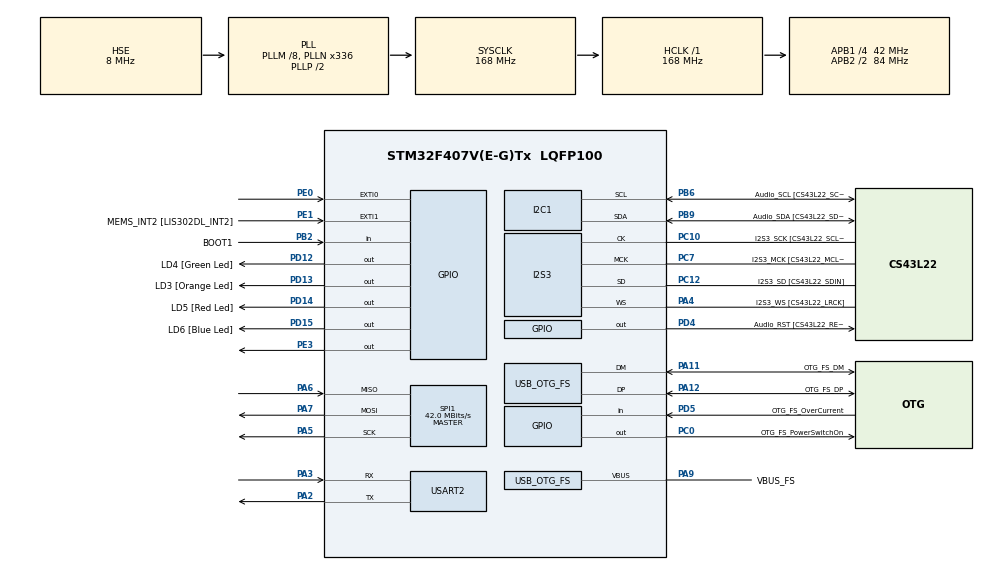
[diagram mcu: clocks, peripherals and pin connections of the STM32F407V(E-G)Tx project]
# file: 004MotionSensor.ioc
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I2S3.AudioFreq-Half_Duplex_Master=I2S_AUDIOFREQ_96K
I2S3.ErrorAudioFreq=-2.34 %
I2S3.ErrorAudioFreq-Half_Duplex_Master=0.8 %
I2S3.FullDuplexMode=I2S_FULLDUPLEXMODE_DISABLE
I2S3.Instance=SPI$Index
I2S3.RealAudioFreq=93.75 KHz
I2S3.RealAudioFreq-Half_Duplex_Master=96.774 KHz
I2S3.VirtualMode=I2S_MODE_MASTER
Mcu.Family=STM32F4
Mcu.Name=STM32F407V(E-G)Tx
Mcu.Package=LQFP100
NVIC.EXTI0_IRQn=true\:15\:0\:true\:false\:true\:true\:true
NVIC.OTG_FS_IRQn=true\:0\:0\:false\:false\:true\:true\:true
NVIC.PriorityGroup=NVIC_PRIORITYGROUP_4
NVIC.TIM6_DAC_IRQn=true\:0\:0\:false\:false\:true\:false\:true
NVIC.TimeBase=TIM6_DAC_IRQn
NVIC.TimeBaseIP=TIM6
PA10.GPIO_Label=OTG_FS_ID
PA10.GPIO_Mode=GPIO_MODE_AF_PP
PA10.GPIO_PuPd=GPIO_NOPULL
PA10.GPIO_Speed=GPIO_SPEED_FREQ_LOW
PA10.Signal=USB_OTG_FS_ID
PA11.GPIO_Label=OTG_FS_DM
PA11.GPIO_Mode=GPIO_MODE_AF_PP
PA11.GPIO_PuPd=GPIO_NOPULL
PA11.GPIO_Speed=GPIO_SPEED_FREQ_LOW
PA11.Mode=Host_Only
PA11.Signal=USB_OTG_FS_DM
PA12.GPIO_Label=OTG_FS_DP
PA12.GPIO_Mode=GPIO_MODE_AF_PP
PA12.GPIO_PuPd=GPIO_NOPULL
PA12.GPIO_Speed=GPIO_SPEED_FREQ_LOW
PA12.Mode=Host_Only
PA12.Signal=USB_OTG_FS_DP
PA13.GPIO_Label=SWDIO
PA13.Mode=Trace_Asynchronous_SW
PA13.Signal=SYS_JTMS-SWDIO
PA14.GPIO_Label=SWCLK
PA14.Mode=Trace_Asynchronous_SW
PA14.Signal=SYS_JTCK-SWCLK
PA2.Mode=Asynchronous
PA2.Signal=USART2_TX
PA3.Mode=Asynchronous
PA3.Signal=USART2_RX
PA4.GPIO_Label=I2S3_WS [CS43L22_LRCK]
PA4.GPIO_Mode=GPIO_MODE_AF_PP
PA4.GPIO_PuPd=GPIO_NOPULL
PA4.GPIO_Speed=GPIO_SPEED_FREQ_LOW
PA4.Mode=Half_Duplex_Master
PA4.Signal=I2S3_WS
PA5.Mode=Full_Duplex_Master
PA5.Signal=SPI1_SCK
PA6.Mode=Full_Duplex_Master
PA6.Signal=SPI1_MISO
PA7.Mode=Full_Duplex_Master
PA7.Signal=SPI1_MOSI
PA9.GPIO_Label=VBUS_FS
PA9.GPIO_Mode=GPIO_MODE_INPUT
PA9.GPIO_PuPd=GPIO_NOPULL
PA9.Mode=Activate_VBUS
PA9.Signal=USB_OTG_FS_VBUS
PB10.GPIO_Label=CLK_IN [MP45DT02_CLK]
PB10.GPIO_Mode=GPIO_MODE_AF_PP
PB10.GPIO_PuPd=GPIO_NOPULL
PB10.GPIO_Speed=GPIO_SPEED_FREQ_LOW
PB10.Signal=I2S2_CK
PB2.GPIO_Label=BOOT1
PB2.GPIO_Mode=GPIO_MODE_INPUT
PB2.GPIO_PuPd=GPIO_NOPULL
PB2.Signal=GPIO_Input
PB3.GPIO_Label=SWO
PB3.Mode=Trace_Asynchronous_SW
PB3.Signal=SYS_JTDO-SWO
PB6.GPIO_Label=Audio_SCL [CS43L22_SCL]
PB6.GPIO_Mode=GPIO_MODE_AF_OD
PB6.GPIO_Pu=GPIO_PULLUP
PB6.GPIO_PuPd=GPIO_NOPULL
PB6.GPIO_Speed=GPIO_SPEED_FREQ_LOW
PB6.Mode=I2C
PB6.Signal=I2C1_SCL
PB9.GPIO_Label=Audio_SDA [CS43L22_SDA]
PB9.GPIO_Mode=GPIO_MODE_AF_OD
PB9.GPIO_Pu=GPIO_PULLUP
PB9.GPIO_PuPd=GPIO_NOPULL
PB9.GPIO_Speed=GPIO_SPEED_FREQ_LOW
PB9.Mode=I2C
PB9.Signal=I2C1_SDA
PC0.GPIO_Label=OTG_FS_PowerSwitchOn
PC0.GPIO_PuPd=GPIO_NOPULL
PC0.GPIO_Speed=GPIO_SPEED_FREQ_LOW
PC0.PinState=GPIO_PIN_SET
PC0.Signal=GPIO_Output
PC10.GPIO_Label=I2S3_SCK [CS43L22_SCLK]
PC10.GPIO_Mode=GPIO_MODE_AF_PP
PC10.GPIO_PuPd=GPIO_NOPULL
PC10.GPIO_Speed=GPIO_SPEED_FREQ_LOW
PC10.Mode=Half_Duplex_Master
PC10.Signal=I2S3_CK
PC12.GPIO_Label=I2S3_SD [CS43L22_SDIN]
PC12.GPIO_Mode=GPIO_MODE_AF_PP
PC12.GPIO_PuPd=GPIO_NOPULL
PC12.GPIO_Speed=GPIO_SPEED_FREQ_LOW
PC12.Mode=Half_Duplex_Master
PC12.Signal=I2S3_SD
PC14-OSC32_IN.GPIO_Label=PC14-OSC32_IN
PC14-OSC32_IN.Mode=LSE-External-Oscillator
PC14-OSC32_IN.Signal=RCC_OSC32_IN
PC15-OSC32_OUT.GPIO_Label=PC15-OSC32_OUT
PC15-OSC32_OUT.Mode=LSE-External-Oscillator
PC15-OSC32_OUT.Signal=RCC_OSC32_OUT
PC3.GPIO_Label=PDM_OUT [MP45DT02_DOUT]
PC3.GPIO_Mode=GPIO_MODE_AF_PP
PC3.GPIO_PuPd=GPIO_NOPULL
PC3.GPIO_Speed=GPIO_SPEED_FREQ_LOW
PC3.Signal=I2S2_SD
PC7.GPIO_Label=I2S3_MCK [CS43L22_MCLK]
PC7.GPIO_Mode=GPIO_MODE_AF_PP
PC7.GPIO_PuPd=GPIO_NOPULL
PC7.GPIO_Speed=GPIO_SPEED_FREQ_LOW
PC7.Mode=Master_Clock_Activated
PC7.Signal=I2S3_MCK
PD12.GPIO_Label=LD4 [Green Led]
PD12.GPIO_PuPd=GPIO_NOPULL
PD12.GPIO_Speed=GPIO_SPEED_FREQ_LOW
PD12.Signal=GPIO_Output
PD13.GPIO_Label=LD3 [Orange Led]
PD13.GPIO_PuPd=GPIO_NOPULL
PD13.GPIO_Speed=GPIO_SPEED_FREQ_LOW
PD13.Signal=GPIO_Output
PD14.GPIO_Label=LD5 [Red Led]
PD14.GPIO_PuPd=GPIO_NOPULL
PD14.GPIO_Speed=GPIO_SPEED_FREQ_LOW
PD14.Signal=GPIO_Output
PD15.GPIO_Label=LD6 [Blue Led]
PD15.GPIO_PuPd=GPIO_NOPULL
PD15.GPIO_Speed=GPIO_SPEED_FREQ_LOW
PD15.Signal=GPIO_Output
PD4.GPIO_Label=Audio_RST [CS43L22_RESET]
PD4.GPIO_PuPd=GPIO_NOPULL
PD4.GPIO_Speed=GPIO_SPEED_FREQ_LOW
PD4.Signal=GPIO_Output
PD5.GPIO_Label=OTG_FS_OverCurrent
PD5.GPIO_Mode=GPIO_MODE_INPUT
PD5.GPIO_PuPd=GPIO_NOPULL
PD5.Signal=GPIO_Input
PE0.Signal=GPXTI0
PE1.GPIO_Label=MEMS_INT2 [LIS302DL_INT2]
PE1.GPIO_ModeDefaultEXTI=GPIO_MODE_EVT_RISING
PE1.GPIO_PuPd=GPIO_NOPULL
PE1.Signal=GPXTI1
PE3.Signal=GPIO_Output
PH0-OSC_IN.GPIO_Label=PH0-OSC_IN
PH0-OSC_IN.Mode=HSE-External-Oscillator
PH0-OSC_IN.Signal=RCC_OSC_IN
PH1-OSC_OUT.GPIO_Label=PH1-OSC_OUT
PH1-OSC_OUT.Mode=HSE-External-Oscillator
PH1-OSC_OUT.Signal=RCC_OSC_OUT
ProjectManager.HeapSize=0x200
ProjectManager.StackSize=0x400
ProjectManager.TargetToolchain=STM32CubeIDE
RCC.48MHZClocksFreq_Value=48000000
RCC.AHBFreq_Value=168000000
RCC.APB1CLKDivider=RCC_HCLK_DIV4
RCC.APB1Freq_Value=42000000
RCC.APB1TimFreq_Value=84000000
RCC.APB2CLKDivider=RCC_HCLK_DIV2
RCC.APB2Freq_Value=84000000
RCC.APB2TimFreq_Value=168000000
RCC.CortexFreq_Value=168000000
RCC.HCLKFreq_Value=168000000
RCC.HSE_VALUE=8000000
RCC.HSI_VALUE=16000000
RCC.PLLM=8
RCC.PLLN=336
RCC.PLLQ=7
RCC.SYSCLKFreq_VALUE=168000000
RCC.SYSCLKSource=RCC_SYSCLKSOURCE_PLLCLK
RCC.VCOOutputFreq_Value=336000000
SPI1.CalculateBaudRate=42.0 MBits/s
SPI1.Direction=SPI_DIRECTION_2LINES
SPI1.Mode=SPI_MODE_MASTER
SPI1.VirtualType=VM_MASTER
USART2.VirtualMode=VM_ASYNC
USB_HOST.BSP.number=1
USB_HOST.USBH_HandleTypeDef-CDC_FS=hUsbHostFS
USB_HOST.VirtualModeFS=Cdc
USB_HOST0.BSP.STBoard=false
USB_HOST0.BSP.api=Unknown
USB_HOST0.BSP.i2caddr=0
USB_HOST0.BSP.i2creg=0
USB_HOST0.BSP.instance=PC0
USB_HOST0.BSP.ip=GPIO
USB_HOST0.BSP.mode=Output
USB_HOST0.BSP.name=Drive_VBUS_FS
USB_HOST0.BSP.solution=PC0
USB_OTG_FS.VirtualMode=Host_Only
USB_OTG_FS.phy_itface=HCD_PHY_EMBEDDED
VP_SYS_VS_tim6.Mode=TIM6
VP_USB_HOST_VS_USB_HOST_CDC_FS.Mode=CDC_FS
board=STM32F407G-DISC1

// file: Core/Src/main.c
/* USER CODE BEGIN Header */
/**
  ******************************************************************************
  * @file           : main.c
  * @brief          : Main program body
  ******************************************************************************
  * @attention
  *
  * <h2><center>&copy; Copyright (c) 2021 STMicroelectronics.
  * All rights reserved.</center></h2>
  *
  * This software component is licensed by ST under BSD 3-Clause license,
  * the "License"; You may not use this file except in compliance with the
  * License. You may obtain a copy of the License at:
  *                        opensource.org/licenses/BSD-3-Clause
  *
  ******************************************************************************
  */
/* USER CODE END Header */
#include "main.h"
#include "usb_host.h"

/* USER CODE BEGIN Includes */
#include "FreeRTOS.h"
#include "task.h"
#include "semphr.h"

/* USER CODE END Includes */

I2C_HandleTypeDef hi2c1;

I2S_HandleTypeDef hi2s3;

SPI_HandleTypeDef hspi1;

UART_HandleTypeDef huart2;

SemaphoreHandle_t xSemaphore = NULL;

void SystemClock_Config(void);
static void MX_GPIO_Init(void);
static void MX_I2C1_Init(void);
static void MX_I2S3_Init(void);
static void MX_SPI1_Init(void);
static void MX_USART2_UART_Init(void);
void MX_USB_HOST_Process(void);

/* USER CODE BEGIN 0 */
void MEMS_Write(uint8_t address,uint8_t data){
	HAL_GPIO_WritePin(GPIOE, GPIO_PIN_3, GPIO_PIN_RESET);
	HAL_SPI_Transmit(&hspi1,&address,1,10);
	HAL_SPI_Transmit(&hspi1,&data,1,10);
	HAL_GPIO_WritePin(GPIOE, GPIO_PIN_3,GPIO_PIN_SET);
}
void MEMS_Read(uint8_t address,uint8_t *data){
    address |= 0x80;
	HAL_GPIO_WritePin(GPIOE,GPIO_PIN_3,GPIO_PIN_RESET);
	HAL_SPI_Transmit(&hspi1,&address,1,10);
	HAL_SPI_Receive(&hspi1,data,1,10);
	HAL_GPIO_WritePin(GPIOE,GPIO_PIN_3,GPIO_PIN_SET);
}
void Green_LED_Task(void *pvParameters)
{
	for(;;)
	{
		HAL_GPIO_TogglePin(GPIOD, LED_GREEN_Pin);
//		uint8_t data;
//		MEMS_Read(LIS3DSH_WHO_AM_I_ADDR, &data);
//		if(data == 0x3F){

//		}
		vTaskDelay(500 / portTICK_RATE_MS);
	}
}
void vHandlerTask( void *pvParameters )
{

	for(;;)
		{
			/* Take the semaphore */
			uint8_t data;

			// semaphore was obtained
			xSemaphoreTake(xSemaphore, portMAX_DELAY);

            // Blink orange LED for 5 times

			for(int i = 0; i < 10; i++){
				uint32_t tStart = HAL_GetTick();
				HAL_GPIO_TogglePin(GPIOD, LED_ORANGE_Pin);
				while(HAL_GetTick() - tStart < 250 / portTICK_RATE_MS);
			}
			// reset interrupt register

			MEMS_Read(LIS3DSH_OUTS1_ADDR, &data);
		}
}
void HAL_GPIO_EXTI_Callback(uint16_t GPIO_Pin)
{
	/* red LED toggle */
	HAL_GPIO_TogglePin(GPIOD, LED_RED_Pin);
	BaseType_t xHigherPriorityTakeWoken = pdFALSE;
	xSemaphoreGiveFromISR(xSemaphore, &xHigherPriorityTakeWoken);
	portYIELD_FROM_ISR(xHigherPriorityTakeWoken);
	/* Give the semaphore to unblock the handler task */

}
/* USER CODE END 0 */

int main(void)
{
  /* USER CODE BEGIN 1 */
  BaseType_t status;
  /* USER CODE END 1 */

  /* MCU Configuration--------------------------------------------------------*/

  /* Reset of all peripherals, Initializes the Flash interface and the Systick. */
  HAL_Init();

  /* Configure the system clock */
  SystemClock_Config();

  /* Initialize all configured peripherals */
  MX_GPIO_Init();
  MX_I2C1_Init();
  MX_I2S3_Init();
  MX_SPI1_Init();
  MX_USB_HOST_Init();
  MX_USART2_UART_Init();
  /* USER CODE BEGIN 2 */

  // 寫入 register //

  MEMS_Write(LIS3DSH_CTRL_REG1_ADDR, 0x01);
  MEMS_Write(LIS3DSH_CTRL_REG3_ADDR, 0x48);
  MEMS_Write(LIS3DSH_CTRL_REG4_ADDR, 0x67);
  MEMS_Write(LIS3DSH_CTRL_REG5_ADDR, 0x00);
  MEMS_Write(LIS3DSH_THRS1_1_ADDR, 0x55);
  MEMS_Write(LIS3DSH_ST1_1_ADDR, 0x05);
  MEMS_Write(LIS3DSH_ST1_2_ADDR, 0x11);
  MEMS_Write(LIS3DSH_MASK1_B_ADDR, 0xfc);
  MEMS_Write(LIS3DSH_MASK1_A_ADDR, 0xfc);
  MEMS_Write(LIS3DSH_SETT1_ADDR, 0x01);

  // Create the semaphore //
  xSemaphore = xSemaphoreCreateBinary();

  // task create //
  status = xTaskCreate(Green_LED_Task, "Green_LED_app", 128, NULL, 2, NULL);
  configASSERT(status == pdPASS);
  status = xTaskCreate(vHandlerTask, "vTaskHandlerTask", 128, NULL, 5, NULL);
  configASSERT(status == pdPASS);
  vTaskStartScheduler();

  /* USER CODE END 2 */

  /* Infinite loop */
  while (1)
  {
    MX_USB_HOST_Process();

  }
}

void SystemClock_Config(void)
{
  RCC_OscInitTypeDef RCC_OscInitStruct = {0};
  RCC_ClkInitTypeDef RCC_ClkInitStruct = {0};

  /** Configure the main internal regulator output voltage
  */
  __HAL_RCC_PWR_CLK_ENABLE();
  __HAL_PWR_VOLTAGESCALING_CONFIG(PWR_REGULATOR_VOLTAGE_SCALE1);
  /** Initializes the RCC Oscillators according to the specified parameters
  * in the RCC_OscInitTypeDef structure.
  */
  RCC_OscInitStruct.OscillatorType = RCC_OSCILLATORTYPE_HSE;
  RCC_OscInitStruct.HSEState = RCC_HSE_ON;
  RCC_OscInitStruct.PLL.PLLState = RCC_PLL_ON;
  RCC_OscInitStruct.PLL.PLLSource = RCC_PLLSOURCE_HSE;
  RCC_OscInitStruct.PLL.PLLM = 8;
  RCC_OscInitStruct.PLL.PLLN = 336;
  RCC_OscInitStruct.PLL.PLLP = RCC_PLLP_DIV2;
  RCC_OscInitStruct.PLL.PLLQ = 7;
  if (HAL_RCC_OscConfig(&RCC_OscInitStruct) != HAL_OK)
  {
    Error_Handler();
  }
  /** Initializes the CPU, AHB and APB buses clocks
  */
  RCC_ClkInitStruct.ClockType = RCC_CLOCKTYPE_HCLK|RCC_CLOCKTYPE_SYSCLK
                              |RCC_CLOCKTYPE_PCLK1|RCC_CLOCKTYPE_PCLK2;
  RCC_ClkInitStruct.SYSCLKSource = RCC_SYSCLKSOURCE_PLLCLK;
  RCC_ClkInitStruct.AHBCLKDivider = RCC_SYSCLK_DIV1;
  RCC_ClkInitStruct.APB1CLKDivider = RCC_HCLK_DIV4;
  RCC_ClkInitStruct.APB2CLKDivider = RCC_HCLK_DIV2;

  if (HAL_RCC_ClockConfig(&RCC_ClkInitStruct, FLASH_LATENCY_5) != HAL_OK)
  {
    Error_Handler();
  }
}

static void MX_I2C1_Init(void)
{

  hi2c1.Instance = I2C1;
  hi2c1.Init.ClockSpeed = 100000;
  hi2c1.Init.DutyCycle = I2C_DUTYCYCLE_2;
  hi2c1.Init.OwnAddress1 = 0;
  hi2c1.Init.AddressingMode = I2C_ADDRESSINGMODE_7BIT;
  hi2c1.Init.DualAddressMode = I2C_DUALADDRESS_DISABLE;
  hi2c1.Init.OwnAddress2 = 0;
  hi2c1.Init.GeneralCallMode = I2C_GENERALCALL_DISABLE;
  hi2c1.Init.NoStretchMode = I2C_NOSTRETCH_DISABLE;
  if (HAL_I2C_Init(&hi2c1) != HAL_OK)
  {
    Error_Handler();
  }

}

static void MX_I2S3_Init(void)
{

  hi2s3.Instance = SPI3;
  hi2s3.Init.Mode = I2S_MODE_MASTER_TX;
  hi2s3.Init.Standard = I2S_STANDARD_PHILIPS;
  hi2s3.Init.DataFormat = I2S_DATAFORMAT_16B;
  hi2s3.Init.MCLKOutput = I2S_MCLKOUTPUT_ENABLE;
  hi2s3.Init.AudioFreq = I2S_AUDIOFREQ_96K;
  hi2s3.Init.CPOL = I2S_CPOL_LOW;
  hi2s3.Init.ClockSource = I2S_CLOCK_PLL;
  hi2s3.Init.FullDuplexMode = I2S_FULLDUPLEXMODE_DISABLE;
  if (HAL_I2S_Init(&hi2s3) != HAL_OK)
  {
    Error_Handler();
  }

}

static void MX_SPI1_Init(void)
{

  /* SPI1 parameter configuration*/
  hspi1.Instance = SPI1;
  hspi1.Init.Mode = SPI_MODE_MASTER;
  hspi1.Init.Direction = SPI_DIRECTION_2LINES;
  hspi1.Init.DataSize = SPI_DATASIZE_8BIT;
  hspi1.Init.CLKPolarity = SPI_POLARITY_LOW;
  hspi1.Init.CLKPhase = SPI_PHASE_1EDGE;
  hspi1.Init.NSS = SPI_NSS_SOFT;
  hspi1.Init.BaudRatePrescaler = SPI_BAUDRATEPRESCALER_2;
  hspi1.Init.FirstBit = SPI_FIRSTBIT_MSB;
  hspi1.Init.TIMode = SPI_TIMODE_DISABLE;
  hspi1.Init.CRCCalculation = SPI_CRCCALCULATION_DISABLE;
  hspi1.Init.CRCPolynomial = 10;
  if (HAL_SPI_Init(&hspi1) != HAL_OK)
  {
    Error_Handler();
  }

}

static void MX_USART2_UART_Init(void)
{

  huart2.Instance = USART2;
  huart2.Init.BaudRate = 115200;
  huart2.Init.WordLength = UART_WORDLENGTH_8B;
  huart2.Init.StopBits = UART_STOPBITS_1;
  huart2.Init.Parity = UART_PARITY_NONE;
  huart2.Init.Mode = UART_MODE_TX_RX;
  huart2.Init.HwFlowCtl = UART_HWCONTROL_NONE;
  huart2.Init.OverSampling = UART_OVERSAMPLING_16;
  if (HAL_UART_Init(&huart2) != HAL_OK)
  {
    Error_Handler();
  }

}

static void MX_GPIO_Init(void)
{
  GPIO_InitTypeDef GPIO_InitStruct = {0};

  /* GPIO Ports Clock Enable */
  __HAL_RCC_GPIOE_CLK_ENABLE();
  __HAL_RCC_GPIOC_CLK_ENABLE();
  __HAL_RCC_GPIOH_CLK_ENABLE();
  __HAL_RCC_GPIOA_CLK_ENABLE();
  __HAL_RCC_GPIOB_CLK_ENABLE();
  __HAL_RCC_GPIOD_CLK_ENABLE();

  /*Configure GPIO pin Output Level */
  HAL_GPIO_WritePin(GPIOE, GPIO_PIN_3, GPIO_PIN_RESET);

  /*Configure GPIO pin Output Level */
  HAL_GPIO_WritePin(OTG_FS_PowerSwitchOn_GPIO_Port, OTG_FS_PowerSwitchOn_Pin, GPIO_PIN_SET);

  /*Configure GPIO pin Output Level */
  HAL_GPIO_WritePin(GPIOD, LD4_Pin|LD3_Pin|LD5_Pin|LD6_Pin
                          |Audio_RST_Pin, GPIO_PIN_RESET);

  /*Configure GPIO pin : PE3 */
  GPIO_InitStruct.Pin = GPIO_PIN_3;
  GPIO_InitStruct.Mode = GPIO_MODE_OUTPUT_PP;
  GPIO_InitStruct.Pull = GPIO_NOPULL;
  GPIO_InitStruct.Speed = GPIO_SPEED_FREQ_LOW;
  HAL_GPIO_Init(GPIOE, &GPIO_InitStruct);

  /*Configure GPIO pin : OTG_FS_PowerSwitchOn_Pin */
  GPIO_InitStruct.Pin = OTG_FS_PowerSwitchOn_Pin;
  GPIO_InitStruct.Mode = GPIO_MODE_OUTPUT_PP;
  GPIO_InitStruct.Pull = GPIO_NOPULL;
  GPIO_InitStruct.Speed = GPIO_SPEED_FREQ_LOW;
  HAL_GPIO_Init(OTG_FS_PowerSwitchOn_GPIO_Port, &GPIO_InitStruct);

  /*Configure GPIO pin : PDM_OUT_Pin */
  GPIO_InitStruct.Pin = PDM_OUT_Pin;
  GPIO_InitStruct.Mode = GPIO_MODE_AF_PP;
  GPIO_InitStruct.Pull = GPIO_NOPULL;
  GPIO_InitStruct.Speed = GPIO_SPEED_FREQ_LOW;
  GPIO_InitStruct.Alternate = GPIO_AF5_SPI2;
  HAL_GPIO_Init(PDM_OUT_GPIO_Port, &GPIO_InitStruct);

  /*Configure GPIO pin : BOOT1_Pin */
  GPIO_InitStruct.Pin = BOOT1_Pin;
  GPIO_InitStruct.Mode = GPIO_MODE_INPUT;
  GPIO_InitStruct.Pull = GPIO_NOPULL;
  HAL_GPIO_Init(BOOT1_GPIO_Port, &GPIO_InitStruct);

  /*Configure GPIO pin : CLK_IN_Pin */
  GPIO_InitStruct.Pin = CLK_IN_Pin;
  GPIO_InitStruct.Mode = GPIO_MODE_AF_PP;
  GPIO_InitStruct.Pull = GPIO_NOPULL;
  GPIO_InitStruct.Speed = GPIO_SPEED_FREQ_LOW;
  GPIO_InitStruct.Alternate = GPIO_AF5_SPI2;
  HAL_GPIO_Init(CLK_IN_GPIO_Port, &GPIO_InitStruct);

  /*Configure GPIO pins : LD4_Pin LD3_Pin LD5_Pin LD6_Pin
                           Audio_RST_Pin */
  GPIO_InitStruct.Pin = LD4_Pin|LD3_Pin|LD5_Pin|LD6_Pin
                          |Audio_RST_Pin;
  GPIO_InitStruct.Mode = GPIO_MODE_OUTPUT_PP;
  GPIO_InitStruct.Pull = GPIO_NOPULL;
  GPIO_InitStruct.Speed = GPIO_SPEED_FREQ_LOW;
  HAL_GPIO_Init(GPIOD, &GPIO_InitStruct);

  /*Configure GPIO pin : OTG_FS_OverCurrent_Pin */
  GPIO_InitStruct.Pin = OTG_FS_OverCurrent_Pin;
  GPIO_InitStruct.Mode = GPIO_MODE_INPUT;
  GPIO_InitStruct.Pull = GPIO_NOPULL;
  HAL_GPIO_Init(OTG_FS_OverCurrent_GPIO_Port, &GPIO_InitStruct);

  /*Configure GPIO pin : PE0 */
  GPIO_InitStruct.Pin = GPIO_PIN_0;
  GPIO_InitStruct.Mode = GPIO_MODE_IT_RISING;
  GPIO_InitStruct.Pull = GPIO_NOPULL;
  HAL_GPIO_Init(GPIOE, &GPIO_InitStruct);

  /*Configure GPIO pin : MEMS_INT2_Pin */
  GPIO_InitStruct.Pin = MEMS_INT2_Pin;
  GPIO_InitStruct.Mode = GPIO_MODE_EVT_RISING;
  GPIO_InitStruct.Pull = GPIO_NOPULL;
  HAL_GPIO_Init(MEMS_INT2_GPIO_Port, &GPIO_InitStruct);

  /* EXTI interrupt init*/
  HAL_NVIC_SetPriority(EXTI0_IRQn, 15, 0);
  HAL_NVIC_EnableIRQ(EXTI0_IRQn);

}

void HAL_TIM_PeriodElapsedCallback(TIM_HandleTypeDef *htim)
{
  if (htim->Instance == TIM6) {
    HAL_IncTick();
  }
}

void Error_Handler(void)
{
  __disable_irq();
  while (1)
  {
  }
}
